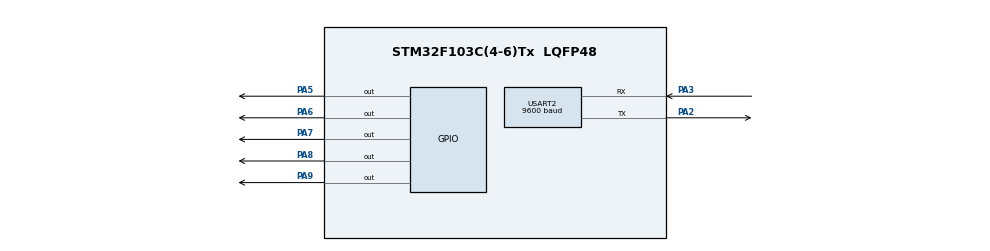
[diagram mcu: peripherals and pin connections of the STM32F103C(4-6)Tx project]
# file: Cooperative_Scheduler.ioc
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Mcu.Family=STM32F1
Mcu.Name=STM32F103C(4-6)Tx
Mcu.Package=LQFP48
NVIC.PriorityGroup=NVIC_PRIORITYGROUP_4
NVIC.TIM2_IRQn=true\:0\:0\:false\:false\:true\:true\:true
NVIC.USART2_IRQn=true\:0\:0\:false\:false\:true\:true\:true
PA2.Mode=Asynchronous
PA2.Signal=USART2_TX
PA3.Mode=Asynchronous
PA3.Signal=USART2_RX
PA5.Signal=GPIO_Output
PA6.Signal=GPIO_Output
PA7.Signal=GPIO_Output
PA8.Signal=GPIO_Output
PA9.Signal=GPIO_Output
ProjectManager.HeapSize=0x200
ProjectManager.StackSize=0x400
ProjectManager.TargetToolchain=STM32CubeIDE
RCC.APB1Freq_Value=8000000
RCC.APB2Freq_Value=8000000
TIM2.Period=9
TIM2.Prescaler=7999
USART2.BaudRate=9600
USART2.VirtualMode=VM_ASYNC
VP_SYS_VS_ND.Mode=No_Debug
VP_TIM2_VS_ClockSourceINT.Mode=Internal
board=custom

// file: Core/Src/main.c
/* USER CODE BEGIN Header */
/**
  ******************************************************************************
  * @file           : main.c
  * @brief          : Main program body
  ******************************************************************************
  * @attention
  *
  * <h2><center>&copy; Copyright (c) 2021 STMicroelectronics.
  * All rights reserved.</center></h2>
  *
  * This software component is licensed by ST under BSD 3-Clause license,
  * the "License"; You may not use this file except in compliance with the
  * License. You may obtain a copy of the License at:
  *                        opensource.org/licenses/BSD-3-Clause
  *
  ******************************************************************************
  */
/* USER CODE END Header */
#include "main.h"

/* USER CODE BEGIN Includes */
#include "scheduler.h"
/* USER CODE END Includes */

TIM_HandleTypeDef htim2;

UART_HandleTypeDef huart2;

void SystemClock_Config(void);
static void MX_GPIO_Init(void);
static void MX_TIM2_Init(void);
static void MX_USART2_UART_Init(void);
/* USER CODE BEGIN PFP */
void togglePA5(){
	HAL_GPIO_TogglePin(GPIOA, GPIO_PIN_5);
}

void togglePA6(){
	HAL_GPIO_TogglePin(GPIOA, GPIO_PIN_6);
}
void togglePA7(){
	HAL_GPIO_TogglePin(GPIOA, GPIO_PIN_7);
}
void togglePA8(){
	HAL_GPIO_TogglePin(GPIOA, GPIO_PIN_8);
}
/* USER CODE END PFP */

int main(void)
{

  /* MCU Configuration--------------------------------------------------------*/

  /* Reset of all peripherals, Initializes the Flash interface and the Systick. */
  HAL_Init();

  /* Configure the system clock */
  SystemClock_Config();

  /* Initialize all configured peripherals */
  MX_GPIO_Init();
  MX_TIM2_Init();
  MX_USART2_UART_Init();
  /* USER CODE BEGIN 2 */

  HAL_TIM_Base_Start_IT(&htim2);
  SCH_Add_Task(togglePA5, 50, 100);
  SCH_Add_Task(togglePA6, 100, 100);
  SCH_Add_Task(togglePA7, 150, 100);
  SCH_Add_Task(togglePA8, 200, 100);
  /* USER CODE END 2 */

  /* Infinite loop */
  /* USER CODE BEGIN WHILE */
  uint8_t pData[] = "Hello\r\n";
  HAL_Delay(1000);
    HAL_UART_Transmit(&huart2, pData, sizeof(pData), 1000);
  while (1)
  {
    /* USER CODE END WHILE */

    /* USER CODE BEGIN 3 */
	  SCH_Dispatch_Tasks();
  }
  /* USER CODE END 3 */
}

void SystemClock_Config(void)
{
  RCC_OscInitTypeDef RCC_OscInitStruct = {0};
  RCC_ClkInitTypeDef RCC_ClkInitStruct = {0};

  /** Initializes the RCC Oscillators according to the specified parameters
  * in the RCC_OscInitTypeDef structure.
  */
  RCC_OscInitStruct.OscillatorType = RCC_OSCILLATORTYPE_HSI;
  RCC_OscInitStruct.HSIState = RCC_HSI_ON;
  RCC_OscInitStruct.HSICalibrationValue = RCC_HSICALIBRATION_DEFAULT;
  RCC_OscInitStruct.PLL.PLLState = RCC_PLL_NONE;
  if (HAL_RCC_OscConfig(&RCC_OscInitStruct) != HAL_OK)
  {
    Error_Handler();
  }
  /** Initializes the CPU, AHB and APB buses clocks
  */
  RCC_ClkInitStruct.ClockType = RCC_CLOCKTYPE_HCLK|RCC_CLOCKTYPE_SYSCLK
                              |RCC_CLOCKTYPE_PCLK1|RCC_CLOCKTYPE_PCLK2;
  RCC_ClkInitStruct.SYSCLKSource = RCC_SYSCLKSOURCE_HSI;
  RCC_ClkInitStruct.AHBCLKDivider = RCC_SYSCLK_DIV1;
  RCC_ClkInitStruct.APB1CLKDivider = RCC_HCLK_DIV1;
  RCC_ClkInitStruct.APB2CLKDivider = RCC_HCLK_DIV1;

  if (HAL_RCC_ClockConfig(&RCC_ClkInitStruct, FLASH_LATENCY_0) != HAL_OK)
  {
    Error_Handler();
  }
}

static void MX_TIM2_Init(void)
{

  TIM_ClockConfigTypeDef sClockSourceConfig = {0};
  TIM_MasterConfigTypeDef sMasterConfig = {0};

  htim2.Instance = TIM2;
  htim2.Init.Prescaler = 7999;
  htim2.Init.CounterMode = TIM_COUNTERMODE_UP;
  htim2.Init.Period = 9;
  htim2.Init.ClockDivision = TIM_CLOCKDIVISION_DIV1;
  htim2.Init.AutoReloadPreload = TIM_AUTORELOAD_PRELOAD_DISABLE;
  if (HAL_TIM_Base_Init(&htim2) != HAL_OK)
  {
    Error_Handler();
  }
  sClockSourceConfig.ClockSource = TIM_CLOCKSOURCE_INTERNAL;
  if (HAL_TIM_ConfigClockSource(&htim2, &sClockSourceConfig) != HAL_OK)
  {
    Error_Handler();
  }
  sMasterConfig.MasterOutputTrigger = TIM_TRGO_RESET;
  sMasterConfig.MasterSlaveMode = TIM_MASTERSLAVEMODE_DISABLE;
  if (HAL_TIMEx_MasterConfigSynchronization(&htim2, &sMasterConfig) != HAL_OK)
  {
    Error_Handler();
  }

}

static void MX_USART2_UART_Init(void)
{

  huart2.Instance = USART2;
  huart2.Init.BaudRate = 9600;
  huart2.Init.WordLength = UART_WORDLENGTH_8B;
  huart2.Init.StopBits = UART_STOPBITS_1;
  huart2.Init.Parity = UART_PARITY_NONE;
  huart2.Init.Mode = UART_MODE_TX_RX;
  huart2.Init.HwFlowCtl = UART_HWCONTROL_NONE;
  huart2.Init.OverSampling = UART_OVERSAMPLING_16;
  if (HAL_UART_Init(&huart2) != HAL_OK)
  {
    Error_Handler();
  }

}

static void MX_GPIO_Init(void)
{
  GPIO_InitTypeDef GPIO_InitStruct = {0};

  /* GPIO Ports Clock Enable */
  __HAL_RCC_GPIOA_CLK_ENABLE();

  /*Configure GPIO pin Output Level */
  HAL_GPIO_WritePin(GPIOA, GPIO_PIN_5|GPIO_PIN_6|GPIO_PIN_7|GPIO_PIN_8
                          |GPIO_PIN_9, GPIO_PIN_SET);

  /*Configure GPIO pins : PA5 PA6 PA7 PA8
                           PA9 */
  GPIO_InitStruct.Pin = GPIO_PIN_5|GPIO_PIN_6|GPIO_PIN_7|GPIO_PIN_8
                          |GPIO_PIN_9;
  GPIO_InitStruct.Mode = GPIO_MODE_OUTPUT_PP;
  GPIO_InitStruct.Pull = GPIO_NOPULL;
  GPIO_InitStruct.Speed = GPIO_SPEED_FREQ_LOW;
  HAL_GPIO_Init(GPIOA, &GPIO_InitStruct);

}

/* USER CODE BEGIN 4 */
int counter = 100;
void HAL_TIM_PeriodElapsedCallback(TIM_HandleTypeDef *htim) {
	SCH_Update();
}
/* USER CODE END 4 */

void Error_Handler(void)
{
  __disable_irq();
  while (1)
  {
  }
}

/************************ (C) COPYRIGHT STMicroelectronics *****END OF FILE****/
